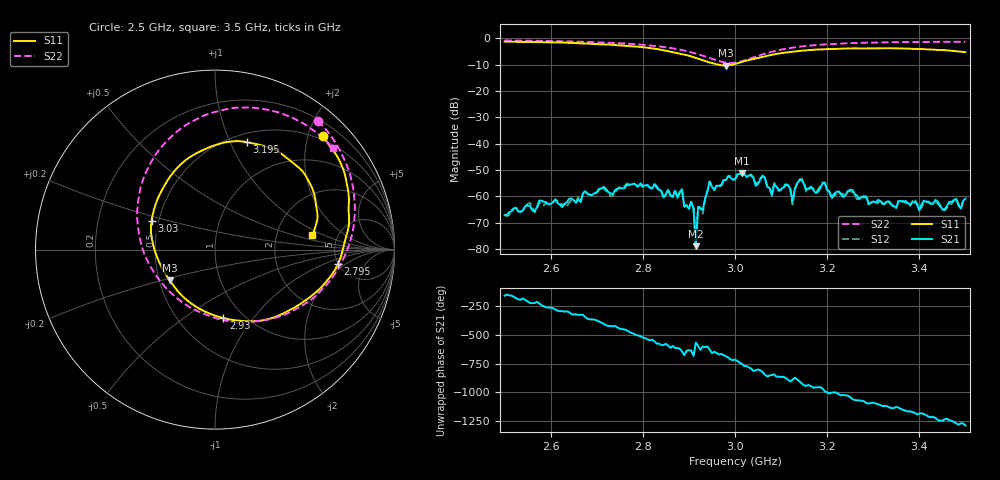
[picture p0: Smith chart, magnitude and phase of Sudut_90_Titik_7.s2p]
# Hz S RI R 50
! CMT, C1220, 16058040, 17.2.0/1
! Date: 15/08/2018 10:07:51
! Data: Format (Calibration Info)
! Freq  S11: Re/Im (F2)  S21: Re/Im (F2)  S12: Re/Im (F2)  S22: Re/Im (F2)
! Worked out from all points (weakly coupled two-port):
!   201 points, 2.5 GHz to 3.5 GHz, reference 50 ohm
!   highest |S21| = -51.20 dB at 3.015 GHz (marker M1); lowest = -79.0 dB at 2.915 GHz (marker M2)
!   lowest |S11| = -10.3 dB at 2.98 GHz (marker M3), VSWR 1.88, Z = 28.4 - j10.7 ohm
!   |S11| at or under -10 dB: 2.966 GHz to 2.993 GHz (27.44 MHz wide, 0.921 % of centre)
!   |S22| runs from -9.3 to -0.7 dB; largest |S21 - S12| = 0.00024
!   S11 on the Smith chart (normalised r, x): 2.5 GHz: 0.43, +2.26; 2.795 GHz: 4.96, -1.53; 2.93 GHz: 0.81, -0.72; 3.03 GHz: 0.46, +0.17; 3.195 GHz: 0.59, +1.16; 3.5 GHz: 3.24, +0.74
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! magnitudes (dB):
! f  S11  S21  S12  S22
! 2.5 GHz  -1.2  -67.2  -67.1  -0.7
! 2.67 GHz  -1.9  -58.8  -59.2  -1.2
! 2.795 GHz  -3.2  -55.1  -55.5  -2.3
! 2.835 GHz  -4.1  -57.6  -57.8  -3.0
! 2.905 GHz  -6.8  -62.1  -62.1  -5.2
! 2.91 GHz  -7.1  -64.7  -64.4  -5.5
! 2.915 GHz  -7.4  -79.0  -75.9  -5.7
! 2.92 GHz  -7.7  -64.1  -64.0  -6.0
! 2.93 GHz  -8.3  -65.3  -66.6  -6.5
! 2.945 GHz  -9.1  -54.4  -54.4  -7.4
! 2.98 GHz  -10.3  -53.9  -54.1  -9.1
! 3 GHz  -9.7  -53.6  -53.6  -9.2
! 3.015 GHz  -8.9  -51.2  -51.4  -8.6
! 3.03 GHz  -8.2  -52.1  -52.1  -7.8
! 3.08 GHz  -6.2  -59.7  -58.9  -5.0
! 3.115 GHz  -5.2  -55.7  -55.9  -3.8
! 3.125 GHz  -5.0  -61.9  -63.2  -3.5
! 3.14 GHz  -4.7  -54.0  -53.6  -3.1
! 3.17 GHz  -4.3  -57.6  -57.1  -2.6
! 3.195 GHz  -4.1  -55.1  -54.7  -2.3
! 3.335 GHz  -3.7  -62.0  -62.5  -1.4
! 3.5 GHz  -5.2  -60.9  -62.4  -1.3
